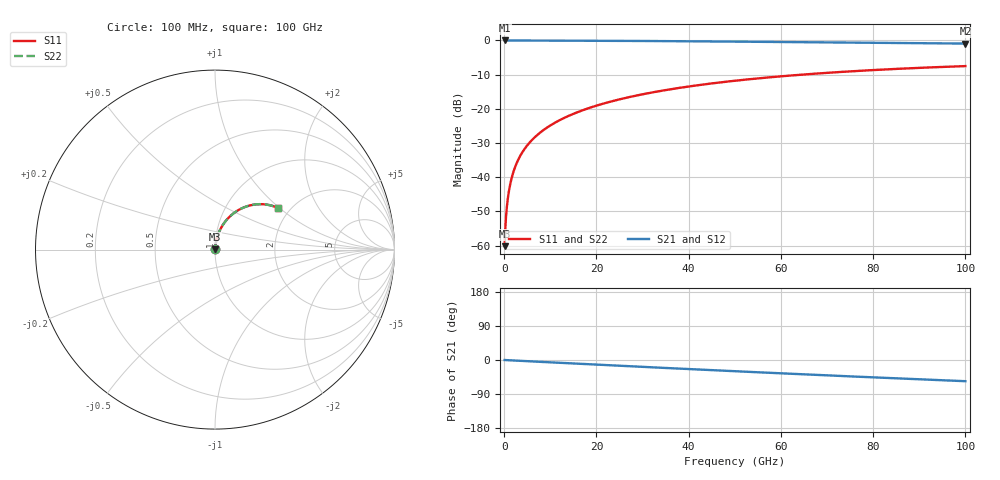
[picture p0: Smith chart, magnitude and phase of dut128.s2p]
! Touchstone file exported from HFSS 2026.1.0
!  File:  C:/ffzhzh/LocalFiles/Ansys_Project_Files/temp_train_RDL_128_1783499562_44152.aedt
!  Generated:  04:33:45 PM Jul  8, 2026
!  Design:  RDL
!  Project:  temp_train_RDL_128_1783499562_44152
! Variables:
!  h_bsmrdl = 2um
!  h_ox = 20um
!  h_rdl = 5um
!  h_sub = 80um
!  h_tmrdl = 4.33um
!  h_tsv = 80um
!  h_via = 3um
!  l_bsmrdl = 300um
!  l_sub = 553.19um
!  l_tmrdl = 153.19um
!  m_sub = 200um
!  pitch = 44.53um
!  r_tsv = 6um
!  s_tmrdl = 10um
!  w_bsmrdl = 18um
!  w_sub = 500um
!  w_tmrdl = 22.93um
!  x_tsv_center1 = 164.655um
!  x_tsv_center2 = 482.655um
!  x_tsv_center3 = 658.775um
!  x_tsv_center4 = 976.775um
!  x_tsv_center5 = 1152.895um
!  x_tsv_center6 = 1470.895um
# GHz S MA R 50.000000
! Terminal data exported
! Port[1] = TM_RDL1_1_T1
! Port[2] = TM_RDL1_1_T2
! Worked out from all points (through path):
!   1000 points, 100 MHz to 100 GHz, reference 50 ohm
!   highest |S21| = -0.01 dB at 100 MHz (marker M1); lowest = -0.9 dB at 100 GHz (marker M2)
!   group delay of S21, straight-line fit = 1.55 ps
!   lowest |S11| = -60.2 dB at 100 MHz (marker M3), VSWR 1.00, Z = 50.1 + j0.0658 ohm
!   |S11| at or under -10 dB: start of sweep to 64.57 GHz
!   |S22| runs from -60.2 to -7.5 dB; largest |S21 - S12| = 5e-15
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0.1  0.0009821 42.0  0.9993 -0.1  0.9993 -0.1  0.0009821 42.0
! Gamma 0 0 0 0
! Port Impedance 50 0 50 0
0.4  0.002611 70.8  0.9991 -0.3  0.9991 -0.3  0.002611 70.8
0.7  0.004318 77.5  0.9991 -0.4  0.9991 -0.4  0.004318 77.5
0.9  0.005474 79.7  0.9991 -0.6  0.9991 -0.6  0.005474 79.7
1.2  0.007221 81.6  0.999 -0.8  0.999 -0.8  0.007221 81.6
1.5  0.008974 82.7  0.999 -0.9  0.999 -0.9  0.008974 82.7
2  0.0119 83.6  0.9989 -1.3  0.9989 -1.3  0.0119 83.6
2.5  0.01481 83.9  0.9987 -1.6  0.9987 -1.6  0.01481 83.9
3.2  0.01887 84.1  0.9985 -2.0  0.9985 -2.0  0.01887 84.1
4  0.02348 83.9  0.9983 -2.5  0.9983 -2.5  0.02348 83.9
5  0.02918 83.6  0.9979 -3.1  0.9979 -3.1  0.02918 83.6
6.1  0.0354 83.1  0.9975 -3.8  0.9975 -3.8  0.0354 83.1
8.9  0.05102 81.8  0.9963 -5.5  0.9963 -5.5  0.05102 81.8
12.4  0.07029 80.0  0.9946 -7.6  0.9946 -7.6  0.07029 80.0
16.8  0.09416 77.7  0.9921 -10.3  0.9921 -10.3  0.09416 77.6
24.2  0.1334 73.6  0.987 -14.7  0.987 -14.7  0.1334 73.6
33.4  0.1801 68.4  0.9789 -20.1  0.9789 -20.1  0.1801 68.4
41.2  0.2177 64.0  0.9708 -24.6  0.9708 -24.6  0.2177 64.0
50.1  0.2578 59.1  0.9606 -29.7  0.9606 -29.7  0.2578 59.1
66.7  0.3241 50.2  0.9398 -38.8  0.9398 -38.8  0.3241 50.2
83.4  0.379 41.5  0.9189 -47.6  0.9189 -47.6  0.379 41.5
100  0.4215 33.3  0.9 -55.9  0.9 -55.9  0.4215 33.3
